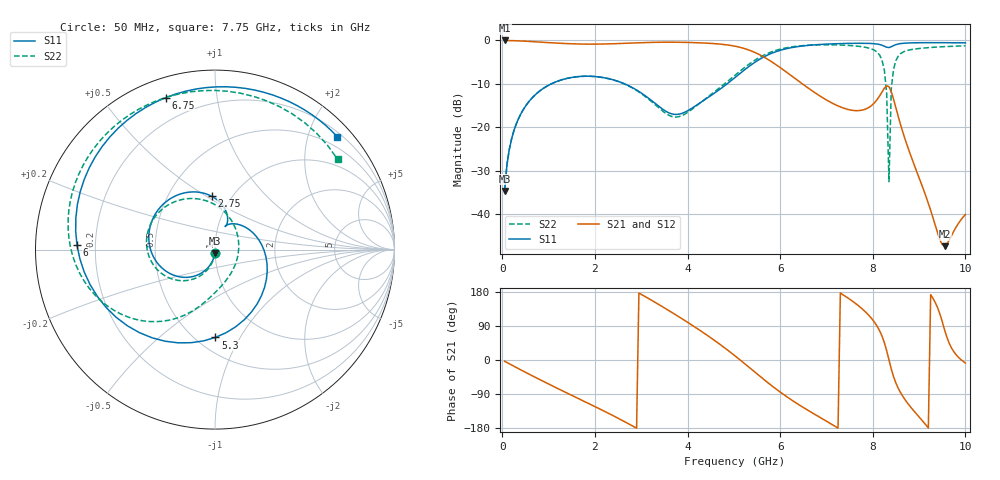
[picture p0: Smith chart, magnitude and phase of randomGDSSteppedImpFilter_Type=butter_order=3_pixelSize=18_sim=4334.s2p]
! freq	dB(S11)	phase(S11)	dB(S12)	phase(S12)
!  dB(S21)	phase(S21)	dB(S22)	phase(S22)
!S-par simulation data
#  GHz  S  DB  R 50
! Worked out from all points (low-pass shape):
!   200 points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, 50 MHz to 10 GHz, reference 50 ohm
!   highest |S21| = -0.01 dB at 50 MHz (marker M1); lowest = -47.4 dB at 9.55 GHz (marker M2)
!   |S21| within 3 dB of the highest: start of sweep to 5.503 GHz
!   lowest |S11| = -34.7 dB at 50 MHz (marker M3), VSWR 1.04, Z = 49.9 - j1.84 ohm
!   |S11| at or under -10 dB: start of sweep to 1.059 GHz; 2.64 GHz to 4.854 GHz (2.214 GHz wide, 59.1 % of centre)
!   |S22| runs from -34.7 to -1.0 dB; largest |S21 - S12| = 0
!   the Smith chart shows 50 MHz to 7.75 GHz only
!   S11 on the Smith chart (normalised r, x): 50 MHz: 1.00, -0.04; 2.75 GHz: 0.81, +0.53; 5.3 GHz: 0.62, -0.79; 6 GHz: 0.13, +0.02; 6.75 GHz: 0.09, +0.72; 7.75 GHz: 0.28, +2.53
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0.05  -34.67 -93.0  -0.01 -3.3  -0.01 -3.3  -34.66 -92.6
0.5  -15.16 -125.1  -0.18 -32.4  -0.18 -32.4  -15.15 -120.7
1.75  -8.26 154.4  -0.84 -108.0  -0.84 -108.0  -8.26 168.7
2.75  -10.54 93.3  -0.63 -169.9  -0.63 -169.9  -10.61 107.4
3.4  -15.34 65.9  -0.42 144.9  -0.42 144.9  -15.73 45.6
4.25  -14.53 49.1  -0.55 79.7  -0.55 79.7  -14.59 -72.2
5.05  -8.33 -52.3  -1.38 8.5  -1.38 8.5  -7.80 -115.5
5.3  -6.21 -89.8  -2.12 -16.4  -2.12 -16.4  -5.69 -129.3
6  -2.28 178.1  -6.25 -84.5  -6.25 -84.5  -2.01 -177.4
6.7  -1.05 112.0  -11.68 -140.0  -11.68 -140.0  -1.06 133.2
6.75  -1.01 108.0  -12.04 -143.6  -12.04 -143.6  -1.05 129.6
7.3  -0.73 69.5  -15.32 176.6  -15.32 176.6  -1.06 85.3
7.75  -0.66 42.7  -16.09 137.2  -16.09 137.2  -1.43 36.3
8.05  -0.77 26.1  -14.21 97.5  -14.21 97.5  -2.35 -12.4
8.25  -1.33 16.1  -11.00 45.7  -11.00 45.7  -6.85 -70.6
8.3  -1.57 15.3  -10.46 24.4  -10.46 24.4  -12.20 -93.3
8.35  -1.64 15.5  -10.67 0.0  -10.67 0.0  -32.52 50.2
8.4  -1.45 15.4  -11.80 -23.9  -11.80 -23.9  -11.02 34.2
8.5  -0.97 11.9  -15.54 -61.0  -15.54 -61.0  -4.63 -5.6
8.9  -0.54 -6.9  -28.81 -136.3  -28.81 -136.3  -1.99 -88.7
9.55  -0.52 -31.9  -47.39 79.8  -47.39 79.8  -1.43 -162.7
10  -0.56 -47.2  -40.10 -8.1  -40.10 -8.1  -1.25 163.1
